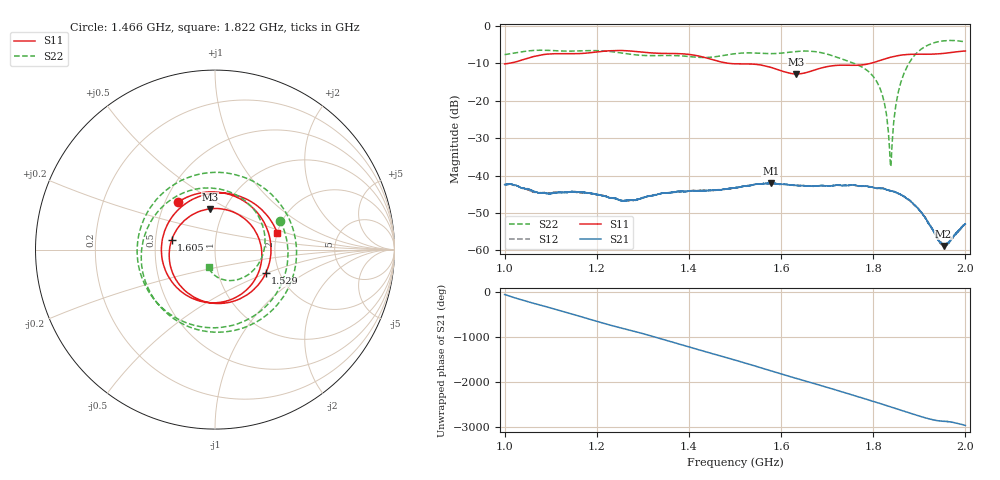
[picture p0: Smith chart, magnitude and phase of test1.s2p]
!Keysight Technologies N9923A: A.08.15
!Date: Friday, 16 February 2024 15:53:06
!Timezone: (GMT-05:00) Eastern Time (US & Canada)
!Model: N9923A
!Serial: MY52412730
!GPS Latitude:
!GPS Longitude:
!GPS TimeStamp: 0001-01-01 00:00:00Z
!GPS Seconds Since Last Read: 0
!CHECKSUM:1093907907
!Correction: S11(ON Q?)S21(ON Q?)S12(ON Q?)S22(ON Q?)
!S2P File: Measurements:S11,S21,S12,S22:
# Hz S DB R 50
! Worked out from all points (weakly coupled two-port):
!   4001 points, 1 GHz to 2 GHz, reference 50 ohm
!   highest |S21| = -42.03 dB at 1.577 GHz (marker M1); lowest = -58.9 dB at 1.952 GHz (marker M2)
!   lowest |S11| = -12.8 dB at 1.633 GHz (marker M3), VSWR 1.59, Z = 42.8 + j20.5 ohm
!   |S11| at or under -10 dB: start of sweep to 1.007 GHz; 1.49 GHz to 1.793 GHz (303.7 MHz wide, 18.5 % of centre)
!   |S22| runs from -37.6 to -3.8 dB; largest |S21 - S12| = 0.00025
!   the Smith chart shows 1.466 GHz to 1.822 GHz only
!   S11 on the Smith chart (normalised r, x): 1.466 GHz: 0.58, +0.35; 1.529 GHz: 1.69, -0.50; 1.605 GHz: 0.61, +0.07; 1.822 GHz: 2.00, +0.43
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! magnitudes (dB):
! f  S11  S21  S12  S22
! 1 GHz  -10.1  -42.5  -42.5  -7.6
! 1.167 GHz  -7.3  -44.4  -44.6  -6.6
! 1.257 GHz  -6.5  -46.8  -46.8  -7.3
! 1.333 GHz  -7.3  -45.0  -44.9  -7.9
! 1.466 GHz  -9.5  -43.8  -43.9  -8.0
! 1.5 GHz  -10.1  -43.3  -43.3  -7.4
! 1.529 GHz  -10.1  -42.8  -42.7  -7.2
! 1.577 GHz  -11.0  -42.0  -42.2  -7.4
! 1.605 GHz  -12.1  -42.4  -42.4  -7.2
! 1.633 GHz  -12.8  -42.6  -42.6  -6.8
! 1.667 GHz  -12.0  -42.8  -42.8  -6.7
! 1.782 GHz  -10.3  -42.8  -42.9  -11.4
! 1.806 GHz  -9.5  -43.4  -43.4  -14.6
! 1.822 GHz  -8.9  -43.5  -43.5  -19.6
! 1.829 GHz  -8.7  -43.8  -43.7  -23.5
! 1.833 GHz  -8.5  -44.0  -43.9  -29.3
! 1.839 GHz  -8.3  -44.1  -44.1  -35.4
! 1.853 GHz  -7.9  -44.7  -44.8  -18.3
! 1.876 GHz  -7.6  -46.4  -46.5  -10.2
! 1.907 GHz  -7.5  -50.4  -50.4  -5.9
! 1.952 GHz  -7.3  -58.9  -58.5  -3.9
! 2 GHz  -6.6  -53.0  -52.9  -4.3
